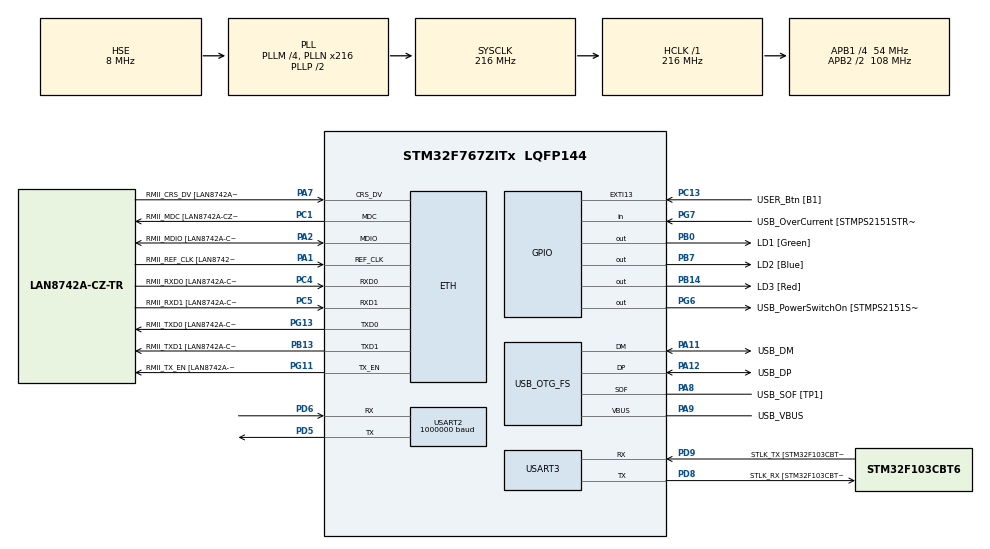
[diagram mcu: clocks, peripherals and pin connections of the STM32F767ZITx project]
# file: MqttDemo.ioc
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ETH.MediaInterface=ETH_MEDIA_INTERFACE_RMII
ETH.PHY_Name=LAN8742A_PHY_ADDRESS
ETH.PHY_Value=0
ETH.PhyAddress=0
FREERTOS.Tasks01=defaultTask,24,128,StartDefaultTask,Default,NULL,Dynamic,NULL,NULL;myMsgTask,8,25000,StartMsgTask,Default,NULL,Dynamic,NULL,NULL
FREERTOS.configCHECK_FOR_STACK_OVERFLOW=2
FREERTOS.configTOTAL_HEAP_SIZE=120000
FREERTOS.configUSE_MALLOC_FAILED_HOOK=1
LWIP.GATEWAY_ADDRESS=192.168.001.001
LWIP.IP_ADDRESS=192.168.001.011
LWIP.LWIP_ALLOW_MEM_FREE_FROM_OTHER_CONTEXT=1
LWIP.LWIP_ALTCP=1
LWIP.LWIP_ALTCP_TLS=1
LWIP.LWIP_DHCP=0
LWIP.LWIP_DNS=1
LWIP.MEMP_OVERFLOW_CHECK=2
LWIP.MEM_OVERFLOW_CHECK=2
LWIP.MEM_SIZE=100000
LWIP.NETMASK_ADDRESS=255.255.255.000
LWIP.Version=v2.1.2_Cube
MBEDTLS.MBEDTLS_PLATFORM_MEMORY=1
MBEDTLS.MBEDTLS_PLATFORM_PRINTF_ALT=1
MBEDTLS.MBEDTLS_PLATFORM_STD_PRINTF_ENABLE=1
MBEDTLS.MBEDTLS_THREADING_C=1
Mcu.Family=STM32F7
Mcu.Name=STM32F767ZITx
Mcu.Package=LQFP144
NVIC.ETH_IRQn=true\:5\:0\:false\:false\:true\:true\:false\:true
NVIC.PriorityGroup=NVIC_PRIORITYGROUP_4
PA1.GPIO_Label=RMII_REF_CLK [LAN8742A-CZ-TR_REFCLK0]
PA1.Mode=RMII
PA1.Signal=ETH_REF_CLK
PA10.GPIO_Label=USB_ID
PA10.Signal=USB_OTG_FS_ID
PA11.GPIO_Label=USB_DM
PA11.Mode=Device_Only
PA11.Signal=USB_OTG_FS_DM
PA12.GPIO_Label=USB_DP
PA12.Mode=Device_Only
PA12.Signal=USB_OTG_FS_DP
PA13.GPIO_Label=TMS
PA13.Mode=Serial_Wire
PA13.Signal=SYS_JTMS-SWDIO
PA14.GPIO_Label=TCK
PA14.Mode=Serial_Wire
PA14.Signal=SYS_JTCK-SWCLK
PA2.GPIO_Label=RMII_MDIO [LAN8742A-CZ-TR_MDIO]
PA2.Mode=RMII
PA2.Signal=ETH_MDIO
PA7.GPIO_Label=RMII_CRS_DV [LAN8742A-CZ-TR_CRS_DV]
PA7.Mode=RMII
PA7.Signal=ETH_CRS_DV
PA8.GPIO_Label=USB_SOF [TP1]
PA8.Mode=Activate_SOF_FS
PA8.Signal=USB_OTG_FS_SOF
PA9.GPIO_Label=USB_VBUS
PA9.Mode=Activate_VBUS
PA9.Signal=USB_OTG_FS_VBUS
PB0.GPIO_Label=LD1 [Green]
PB0.Signal=GPIO_Output
PB13.GPIO_Label=RMII_TXD1 [LAN8742A-CZ-TR_TXD1]
PB13.Mode=RMII
PB13.Signal=ETH_TXD1
PB14.GPIO_Label=LD3 [Red]
PB14.Signal=GPIO_Output
PB3.GPIO_Label=SWO
PB3.Signal=SYS_JTDO-SWO
PB7.GPIO_Label=LD2 [Blue]
PB7.Signal=GPIO_Output
PC1.GPIO_Label=RMII_MDC [LAN8742A-CZ-TR_MDC]
PC1.Mode=RMII
PC1.Signal=ETH_MDC
PC13.GPIO_Label=USER_Btn [B1]
PC13.Signal=GPXTI13
PC14/OSC32_IN.Mode=LSE-External-Oscillator
PC14/OSC32_IN.Signal=RCC_OSC32_IN
PC15/OSC32_OUT.Mode=LSE-External-Oscillator
PC15/OSC32_OUT.Signal=RCC_OSC32_OUT
PC4.GPIO_Label=RMII_RXD0 [LAN8742A-CZ-TR_RXD0]
PC4.Mode=RMII
PC4.Signal=ETH_RXD0
PC5.GPIO_Label=RMII_RXD1 [LAN8742A-CZ-TR_RXD1]
PC5.Mode=RMII
PC5.Signal=ETH_RXD1
PD5.Mode=Asynchronous
PD5.Signal=USART2_TX
PD6.Mode=Asynchronous
PD6.Signal=USART2_RX
PD8.GPIO_Label=STLK_RX [STM32F103CBT6_PA3]
PD8.Mode=Asynchronous
PD8.Signal=USART3_TX
PD9.GPIO_Label=STLK_TX [STM32F103CBT6_PA2]
PD9.Mode=Asynchronous
PD9.Signal=USART3_RX
PG11.GPIO_Label=RMII_TX_EN [LAN8742A-CZ-TR_TXEN]
PG11.Mode=RMII
PG11.Signal=ETH_TX_EN
PG13.GPIO_Label=RMII_TXD0 [LAN8742A-CZ-TR_TXD0]
PG13.Mode=RMII
PG13.Signal=ETH_TXD0
PG6.GPIO_Label=USB_PowerSwitchOn [STMPS2151STR_EN]
PG6.Signal=GPIO_Output
PG7.GPIO_Label=USB_OverCurrent [STMPS2151STR_FAULT]
PG7.Signal=GPIO_Input
PH0/OSC_IN.GPIO_Label=MCO [STM32F103CBT6_PA8]
PH0/OSC_IN.Mode=HSE-External-Clock-Source
PH0/OSC_IN.Signal=RCC_OSC_IN
PH1/OSC_OUT.Mode=HSE-External-Clock-Source
PH1/OSC_OUT.Signal=RCC_OSC_OUT
ProjectManager.HeapSize=0x200
ProjectManager.StackSize=0x400
ProjectManager.TargetToolchain=MDK-ARM V5.27
RCC.48MHZClocksFreq_Value=24000000
RCC.AHBFreq_Value=216000000
RCC.APB1CLKDivider=RCC_HCLK_DIV4
RCC.APB1Freq_Value=54000000
RCC.APB1TimFreq_Value=108000000
RCC.APB2CLKDivider=RCC_HCLK_DIV2
RCC.APB2Freq_Value=108000000
RCC.APB2TimFreq_Value=216000000
RCC.CortexFreq_Value=216000000
RCC.HCLKFreq_Value=216000000
RCC.HSE_VALUE=8000000
RCC.HSI_VALUE=16000000
RCC.PLLM=4
RCC.PLLMUL=RCC_PLL_MUL9
RCC.PLLN=216
RCC.PLLQ=9
RCC.PRESCALERUSB=RCC_USBCLKSOURCE_PLL_DIV1_5
RCC.SYSCLKFreq_VALUE=216000000
RCC.SYSCLKSource=RCC_SYSCLKSOURCE_PLLCLK
RCC.SYSCLKSourceVirtual=RCC_SYSCLKSOURCE_PLLCLK
RCC.USBFreq_Value=48000000
RCC.VCOOutputFreq_Value=432000000
USART2.BaudRate=1000000
USART2.VirtualMode-Asynchronous=VM_ASYNC
USART3.VirtualMode-Asynchronous=VM_ASYNC
USB_OTG_FS.VirtualMode=Device_Only
VP_FREERTOS_VS_CMSIS_V2.Mode=CMSIS_V2
VP_LWIP_VS_Enabled.Mode=Enabled
VP_MBEDTLS_VS_MBEDTLS.Mode=Enabled
board=NUCLEO-F767ZI

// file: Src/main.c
/* USER CODE BEGIN Header */
/**
  ******************************************************************************
  * @file           : main.c
  * @brief          : Main program body
  ******************************************************************************
  * @attention
  *
  * <h2><center>&copy; Copyright (c) 2021 STMicroelectronics.
  * All rights reserved.</center></h2>
  *
  * This software component is licensed by ST under Ultimate Liberty license
  * SLA0044, the "License"; You may not use this file except in compliance with
  * the License. You may obtain a copy of the License at:
  *                             www.st.com/SLA0044
  *
  ******************************************************************************
  */
/* USER CODE END Header */
#include "main.h"
#include "cmsis_os.h"
#include "mbedtls.h"

/* USER CODE BEGIN Includes */
#include <string.h>
#include <stdio.h>

#include "mqtt.h"
#include "lwip.h"
#include "lwip/dns.h"
#include "lwip/altcp_tls.h"

//#include "PassStrLocal.h"
#include "PassStr.h"

/* USER CODE END Includes */

/* USER CODE BEGIN PD */

#define LOG_INFO(...) (printf(__VA_ARGS__))
#define LOG_ERR(...) (printf(__VA_ARGS__))

/* USER CODE END PD */

PCD_HandleTypeDef hpcd_USB_OTG_FS;

/* Definitions for defaultTask */
osThreadId_t defaultTaskHandle;
const osThreadAttr_t defaultTask_attributes = {
  .name = "defaultTask",
  .stack_size = 256 * 4,
  .priority = (osPriority_t) osPriorityNormal,
};
/* Definitions for myMsgTask */
osThreadId_t myMsgTaskHandle;
const osThreadAttr_t myMsgTask_attributes = {
  .name = "myMsgTask",
  .stack_size = 25000 * 4,
  .priority = (osPriority_t) osPriorityLow,
};

void SystemClock_Config(void);
static void MX_GPIO_Init(void);
static void MX_USART2_UART_Init(void);
static void MX_USART3_UART_Init(void);
static void MX_USB_OTG_FS_PCD_Init(void);
void StartDefaultTask(void *argument);
void StartMsgTask(void *argument);

/* USER CODE BEGIN 0 */
/*int fputc(int ch,FILE *stream)
{
		if(ch == 10){
			fputc(13, stream);
		}

		LL_USART_TransmitData8(USART2, ch);
		while ( !LL_USART_IsActiveFlag_TXE(USART2) ) {};

    return (ch);
}*/
/* USER CODE END 0 */

int main(void)
{

  /* MCU Configuration--------------------------------------------------------*/

  /* Reset of all peripherals, Initializes the Flash interface and the Systick. */
  HAL_Init();

  /* Configure the system clock */
  SystemClock_Config();

  /* Initialize all configured peripherals */
  MX_GPIO_Init();
  MX_USART2_UART_Init();
  MX_USART3_UART_Init();
  MX_USB_OTG_FS_PCD_Init();
  MX_MBEDTLS_Init();

  /* Init scheduler */
  osKernelInitialize();

  /* Create the thread(s) */
  /* creation of defaultTask */
  defaultTaskHandle = osThreadNew(StartDefaultTask, NULL, &defaultTask_attributes);

  /* creation of myMsgTask */
  myMsgTaskHandle = osThreadNew(StartMsgTask, NULL, &myMsgTask_attributes);

  /* Start scheduler */
  osKernelStart();

  /* We should never get here as control is now taken by the scheduler */
  /* Infinite loop */
  while (1)
  {

  }
}

void SystemClock_Config(void)
{
  RCC_OscInitTypeDef RCC_OscInitStruct = {0};
  RCC_ClkInitTypeDef RCC_ClkInitStruct = {0};
  RCC_PeriphCLKInitTypeDef PeriphClkInitStruct = {0};

  /** Configure LSE Drive Capability
  */
  HAL_PWR_EnableBkUpAccess();
  /** Configure the main internal regulator output voltage
  */
  __HAL_RCC_PWR_CLK_ENABLE();
  __HAL_PWR_VOLTAGESCALING_CONFIG(PWR_REGULATOR_VOLTAGE_SCALE1);
  /** Initializes the RCC Oscillators according to the specified parameters
  * in the RCC_OscInitTypeDef structure.
  */
  RCC_OscInitStruct.OscillatorType = RCC_OSCILLATORTYPE_HSE;
  RCC_OscInitStruct.HSEState = RCC_HSE_BYPASS;
  RCC_OscInitStruct.PLL.PLLState = RCC_PLL_ON;
  RCC_OscInitStruct.PLL.PLLSource = RCC_PLLSOURCE_HSE;
  RCC_OscInitStruct.PLL.PLLM = 4;
  RCC_OscInitStruct.PLL.PLLN = 216;
  RCC_OscInitStruct.PLL.PLLP = RCC_PLLP_DIV2;
  RCC_OscInitStruct.PLL.PLLQ = 9;
  if (HAL_RCC_OscConfig(&RCC_OscInitStruct) != HAL_OK)
  {
    Error_Handler();
  }
  /** Activate the Over-Drive mode
  */
  if (HAL_PWREx_EnableOverDrive() != HAL_OK)
  {
    Error_Handler();
  }
  /** Initializes the CPU, AHB and APB buses clocks
  */
  RCC_ClkInitStruct.ClockType = RCC_CLOCKTYPE_HCLK|RCC_CLOCKTYPE_SYSCLK
                              |RCC_CLOCKTYPE_PCLK1|RCC_CLOCKTYPE_PCLK2;
  RCC_ClkInitStruct.SYSCLKSource = RCC_SYSCLKSOURCE_PLLCLK;
  RCC_ClkInitStruct.AHBCLKDivider = RCC_SYSCLK_DIV1;
  RCC_ClkInitStruct.APB1CLKDivider = RCC_HCLK_DIV4;
  RCC_ClkInitStruct.APB2CLKDivider = RCC_HCLK_DIV2;

  if (HAL_RCC_ClockConfig(&RCC_ClkInitStruct, FLASH_LATENCY_7) != HAL_OK)
  {
    Error_Handler();
  }
  PeriphClkInitStruct.PeriphClockSelection = RCC_PERIPHCLK_USART2|RCC_PERIPHCLK_USART3
                              |RCC_PERIPHCLK_CLK48;
  PeriphClkInitStruct.Usart2ClockSelection = RCC_USART2CLKSOURCE_PCLK1;
  PeriphClkInitStruct.Usart3ClockSelection = RCC_USART3CLKSOURCE_PCLK1;
  PeriphClkInitStruct.Clk48ClockSelection = RCC_CLK48SOURCE_PLL;
  if (HAL_RCCEx_PeriphCLKConfig(&PeriphClkInitStruct) != HAL_OK)
  {
    Error_Handler();
  }
}

static void MX_USART2_UART_Init(void)
{

  LL_USART_InitTypeDef USART_InitStruct = {0};

  LL_GPIO_InitTypeDef GPIO_InitStruct = {0};

  /* Peripheral clock enable */
  LL_APB1_GRP1_EnableClock(LL_APB1_GRP1_PERIPH_USART2);

  LL_AHB1_GRP1_EnableClock(LL_AHB1_GRP1_PERIPH_GPIOD);
  /**USART2 GPIO Configuration
  PD5   ------> USART2_TX
  PD6   ------> USART2_RX
  */
  GPIO_InitStruct.Pin = LL_GPIO_PIN_5;
  GPIO_InitStruct.Mode = LL_GPIO_MODE_ALTERNATE;
  GPIO_InitStruct.Speed = LL_GPIO_SPEED_FREQ_VERY_HIGH;
  GPIO_InitStruct.OutputType = LL_GPIO_OUTPUT_PUSHPULL;
  GPIO_InitStruct.Pull = LL_GPIO_PULL_NO;
  GPIO_InitStruct.Alternate = LL_GPIO_AF_7;
  LL_GPIO_Init(GPIOD, &GPIO_InitStruct);

  GPIO_InitStruct.Pin = LL_GPIO_PIN_6;
  GPIO_InitStruct.Mode = LL_GPIO_MODE_ALTERNATE;
  GPIO_InitStruct.Speed = LL_GPIO_SPEED_FREQ_VERY_HIGH;
  GPIO_InitStruct.OutputType = LL_GPIO_OUTPUT_PUSHPULL;
  GPIO_InitStruct.Pull = LL_GPIO_PULL_NO;
  GPIO_InitStruct.Alternate = LL_GPIO_AF_7;
  LL_GPIO_Init(GPIOD, &GPIO_InitStruct);

  USART_InitStruct.BaudRate = 1000000;
  USART_InitStruct.DataWidth = LL_USART_DATAWIDTH_8B;
  USART_InitStruct.StopBits = LL_USART_STOPBITS_1;
  USART_InitStruct.Parity = LL_USART_PARITY_NONE;
  USART_InitStruct.TransferDirection = LL_USART_DIRECTION_TX_RX;
  USART_InitStruct.HardwareFlowControl = LL_USART_HWCONTROL_NONE;
  USART_InitStruct.OverSampling = LL_USART_OVERSAMPLING_16;
  LL_USART_Init(USART2, &USART_InitStruct);
  LL_USART_ConfigAsyncMode(USART2);
  LL_USART_Enable(USART2);

}

static void MX_USART3_UART_Init(void)
{

  LL_USART_InitTypeDef USART_InitStruct = {0};

  LL_GPIO_InitTypeDef GPIO_InitStruct = {0};

  /* Peripheral clock enable */
  LL_APB1_GRP1_EnableClock(LL_APB1_GRP1_PERIPH_USART3);

  LL_AHB1_GRP1_EnableClock(LL_AHB1_GRP1_PERIPH_GPIOD);
  /**USART3 GPIO Configuration
  PD8   ------> USART3_TX
  PD9   ------> USART3_RX
  */
  GPIO_InitStruct.Pin = LL_GPIO_PIN_8;
  GPIO_InitStruct.Mode = LL_GPIO_MODE_ALTERNATE;
  GPIO_InitStruct.Speed = LL_GPIO_SPEED_FREQ_VERY_HIGH;
  GPIO_InitStruct.OutputType = LL_GPIO_OUTPUT_PUSHPULL;
  GPIO_InitStruct.Pull = LL_GPIO_PULL_NO;
  GPIO_InitStruct.Alternate = LL_GPIO_AF_7;
  LL_GPIO_Init(GPIOD, &GPIO_InitStruct);

  GPIO_InitStruct.Pin = LL_GPIO_PIN_9;
  GPIO_InitStruct.Mode = LL_GPIO_MODE_ALTERNATE;
  GPIO_InitStruct.Speed = LL_GPIO_SPEED_FREQ_VERY_HIGH;
  GPIO_InitStruct.OutputType = LL_GPIO_OUTPUT_PUSHPULL;
  GPIO_InitStruct.Pull = LL_GPIO_PULL_NO;
  GPIO_InitStruct.Alternate = LL_GPIO_AF_7;
  LL_GPIO_Init(GPIOD, &GPIO_InitStruct);

  USART_InitStruct.BaudRate = 115200;
  USART_InitStruct.DataWidth = LL_USART_DATAWIDTH_8B;
  USART_InitStruct.StopBits = LL_USART_STOPBITS_1;
  USART_InitStruct.Parity = LL_USART_PARITY_NONE;
  USART_InitStruct.TransferDirection = LL_USART_DIRECTION_TX_RX;
  USART_InitStruct.HardwareFlowControl = LL_USART_HWCONTROL_NONE;
  USART_InitStruct.OverSampling = LL_USART_OVERSAMPLING_16;
  LL_USART_Init(USART3, &USART_InitStruct);
  LL_USART_ConfigAsyncMode(USART3);
  LL_USART_Enable(USART3);

}

static void MX_USB_OTG_FS_PCD_Init(void)
{

  hpcd_USB_OTG_FS.Instance = USB_OTG_FS;
  hpcd_USB_OTG_FS.Init.dev_endpoints = 6;
  hpcd_USB_OTG_FS.Init.speed = PCD_SPEED_FULL;
  hpcd_USB_OTG_FS.Init.dma_enable = DISABLE;
  hpcd_USB_OTG_FS.Init.phy_itface = PCD_PHY_EMBEDDED;
  hpcd_USB_OTG_FS.Init.Sof_enable = ENABLE;
  hpcd_USB_OTG_FS.Init.low_power_enable = DISABLE;
  hpcd_USB_OTG_FS.Init.lpm_enable = DISABLE;
  hpcd_USB_OTG_FS.Init.vbus_sensing_enable = ENABLE;
  hpcd_USB_OTG_FS.Init.use_dedicated_ep1 = DISABLE;
  if (HAL_PCD_Init(&hpcd_USB_OTG_FS) != HAL_OK)
  {
    Error_Handler();
  }

}

static void MX_GPIO_Init(void)
{
  GPIO_InitTypeDef GPIO_InitStruct = {0};

  /* GPIO Ports Clock Enable */
  __HAL_RCC_GPIOC_CLK_ENABLE();
  __HAL_RCC_GPIOH_CLK_ENABLE();
  __HAL_RCC_GPIOA_CLK_ENABLE();
  __HAL_RCC_GPIOB_CLK_ENABLE();
  __HAL_RCC_GPIOD_CLK_ENABLE();
  __HAL_RCC_GPIOG_CLK_ENABLE();

  /*Configure GPIO pin Output Level */
  HAL_GPIO_WritePin(GPIOB, LD1_Pin|LD3_Pin|LD2_Pin, GPIO_PIN_RESET);

  /*Configure GPIO pin Output Level */
  HAL_GPIO_WritePin(USB_PowerSwitchOn_GPIO_Port, USB_PowerSwitchOn_Pin, GPIO_PIN_RESET);

  /*Configure GPIO pin : USER_Btn_Pin */
  GPIO_InitStruct.Pin = USER_Btn_Pin;
  GPIO_InitStruct.Mode = GPIO_MODE_IT_RISING;
  GPIO_InitStruct.Pull = GPIO_NOPULL;
  HAL_GPIO_Init(USER_Btn_GPIO_Port, &GPIO_InitStruct);

  /*Configure GPIO pins : LD1_Pin LD3_Pin LD2_Pin */
  GPIO_InitStruct.Pin = LD1_Pin|LD3_Pin|LD2_Pin;
  GPIO_InitStruct.Mode = GPIO_MODE_OUTPUT_PP;
  GPIO_InitStruct.Pull = GPIO_NOPULL;
  GPIO_InitStruct.Speed = GPIO_SPEED_FREQ_LOW;
  HAL_GPIO_Init(GPIOB, &GPIO_InitStruct);

  /*Configure GPIO pin : USB_PowerSwitchOn_Pin */
  GPIO_InitStruct.Pin = USB_PowerSwitchOn_Pin;
  GPIO_InitStruct.Mode = GPIO_MODE_OUTPUT_PP;
  GPIO_InitStruct.Pull = GPIO_NOPULL;
  GPIO_InitStruct.Speed = GPIO_SPEED_FREQ_LOW;
  HAL_GPIO_Init(USB_PowerSwitchOn_GPIO_Port, &GPIO_InitStruct);

  /*Configure GPIO pin : USB_OverCurrent_Pin */
  GPIO_InitStruct.Pin = USB_OverCurrent_Pin;
  GPIO_InitStruct.Mode = GPIO_MODE_INPUT;
  GPIO_InitStruct.Pull = GPIO_NOPULL;
  HAL_GPIO_Init(USB_OverCurrent_GPIO_Port, &GPIO_InitStruct);

}

void StartDefaultTask(void *argument)
{
  /* USER CODE BEGIN 5 */
  /* Infinite loop */
  for(;;)
  {
    osDelay(100);
  }
  /* USER CODE END 5 */
}

/* USER CODE BEGIN Header_StartMsgTask */
/**
* @brief Function implementing the myMsgTask thread.
* @param argument: Not used
* @retval None
*/

ip_addr_t 													server_ip;
mqtt_client_t 											*My_client;
struct mqtt_connect_client_info_t 	ci;
int																	is_connected = 0;

/* Called when publish is complete either with sucess or failure */
static void mqtt_pub_request_cb(void *arg, err_t result)
{
  if(result != ERR_OK) {
    printf("Publish result: %d-----------------\n", result);
  }
}

void example_publish(mqtt_client_t *client, void *arg)
{
  const char *pub_payload= "MyMqttDemo";
  err_t err;
  u8_t qos = 0; /* 0 1 or 2, see MQTT specification */
  u8_t retain = 0; /* No don't retain such crappy payload... */
  err = mqtt_publish(client, "MyMqttDemo", pub_payload, strlen(pub_payload), qos, retain, mqtt_pub_request_cb, arg);
  if(err != ERR_OK) {
    printf("Publish err: %d-----------------\n", err);
  }
}

/* Wait until this callback gets the IP */
static void mqtt_resolved_cb(const char *host, const ip_addr_t *ipaddr,
                             void *callback_arg)
{
  /* If resolved IP is known -> set it */
  if (ipaddr->addr != 0)
  {
    server_ip.addr = ipaddr->addr;
		printf("server_ip.addr =%s-----------------\n", ip4addr_ntoa(&server_ip));
  }
}

static void mqtt_connection_cb(
    mqtt_client_t *client,
    void *arg,
    mqtt_connection_status_t status)
{
    if(status == MQTT_CONNECT_ACCEPTED) {
        LOG_INFO("mqtt_connection_cb: Successfully connected-----------------\n");
				is_connected = 1;
    } else {
        LOG_ERR("mqtt_connection_cb: Disconnected, reason: %d-----------------\n", status);
    }
}

const char local_name[] = "DELLZHUK";
const char aws_name[] = "a24wy2kd5he3th-ats.iot.eu-west-2.amazonaws.com";

/* USER CODE END Header_StartMsgTask */
void StartMsgTask(void *argument)
{
  /* USER CODE BEGIN StartMsgTask */
  /* Infinite loop */
	MX_LWIP_Init();

	err_t err = dns_gethostbyname(aws_name, &server_ip, mqtt_resolved_cb, NULL);

	  /* Setup an empty client info structure */
  memset(&ci, 0, sizeof(ci));

  /* Set client information */
  ci.client_id = aws_name;
  ci.client_user = NULL;
  ci.client_pass = NULL;
  ci.keep_alive = 0;
  ci.will_topic = NULL;
  ci.will_msg = NULL;
  ci.will_retain = 0;
  ci.will_qos = 1;

	int StartTime = HAL_GetTick();
	int CurTime = StartTime;

	printf("Start of TLS init, time=0 -----------------\n");

	ci.tls_config = altcp_tls_create_config_client_2wayauth(
		(const u8_t*)CaStr, sizeof(CaStr),
		(const u8_t*)PrivKeyStr, sizeof(PrivKeyStr),
		(const u8_t*)PubKeyStr, sizeof(PubKeyStr),
		(const u8_t*)SertStr, sizeof(SertStr)
	);
	CurTime = -(StartTime - HAL_GetTick());
	printf("End of TLS init, time spend %d -----------------\n", CurTime);

  /* Allocate memory for MQTT client */
	printf("Start of My_client init -----------------\n");
  My_client = mqtt_client_new();
	CurTime = CurTime - HAL_GetTick();
	printf("End of My_client init, time spend %d -----------------\n", -CurTime);

	//IP4_ADDR(&server_ip, 192, 168, 1, 4);

  osDelay(1000);
  osDelay(1000);

  /* Connect to the server */
  if (My_client != NULL)
  {
		printf("Attempton to connect, timer=0 -----------------\n");
		StartTime = HAL_GetTick();
    err_t err = mqtt_client_connect(
      My_client, &server_ip, 8883, mqtt_connection_cb, 0, &ci);
		printf("Result err == %d-----------------\n", err);
  }else{
		printf("Client ==0-----------------\n");
	};

	int i = 0;
  for(;;)
  {
		printf("Cicle %d-----------------\r\n", ++i);
    osDelay(10000);
		stats_display();

		if(My_client != 0){
			if(is_connected){
				CurTime = HAL_GetTick();
				printf("Connected, time spended ms %d -----------------\n", CurTime-StartTime);

				example_publish(My_client, 0);
			}else{
				printf("Still not connected-----------------\r\n");
			};
		};
  }
  /* USER CODE END StartMsgTask */
}

void Error_Handler(void)
{
  __disable_irq();
  while (1)
  {
  }
}

/************************ (C) COPYRIGHT STMicroelectronics *****END OF FILE****/

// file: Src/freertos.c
/* USER CODE BEGIN Header */
/**
  ******************************************************************************
  * File Name          : freertos.c
  * Description        : Code for freertos applications
  ******************************************************************************
  * @attention
  *
  * <h2><center>&copy; Copyright (c) 2021 STMicroelectronics.
  * All rights reserved.</center></h2>
  *
  * This software component is licensed by ST under Ultimate Liberty license
  * SLA0044, the "License"; You may not use this file except in compliance with
  * the License. You may obtain a copy of the License at:
  *                             www.st.com/SLA0044
  *
  ******************************************************************************
  */
/* USER CODE END Header */

#include "FreeRTOS.h"
#include "task.h"
#include "main.h"

/* Hook prototypes */
void vApplicationStackOverflowHook(xTaskHandle xTask, signed char *pcTaskName);
void vApplicationMallocFailedHook(void);

/* USER CODE BEGIN 4 */
void vApplicationStackOverflowHook(xTaskHandle xTask, signed char *pcTaskName)
{
   /* Run time stack overflow checking is performed if
   configCHECK_FOR_STACK_OVERFLOW is defined to 1 or 2. This hook function is
   called if a stack overflow is detected. */
}
/* USER CODE END 4 */

/* USER CODE BEGIN 5 */
void vApplicationMallocFailedHook(void)
{
   /* vApplicationMallocFailedHook() will only be called if
   configUSE_MALLOC_FAILED_HOOK is set to 1 in FreeRTOSConfig.h. It is a hook
   function that will get called if a call to pvPortMalloc() fails.
   pvPortMalloc() is called internally by the kernel whenever a task, queue,
   timer or semaphore is created. It is also called by various parts of the
   demo application. If heap_1.c or heap_2.c are used, then the size of the
   heap available to pvPortMalloc() is defined by configTOTAL_HEAP_SIZE in
   FreeRTOSConfig.h, and the xPortGetFreeHeapSize() API function can be used
   to query the size of free heap space that remains (although it does not
   provide information on how the remaining heap might be fragmented). */
		printf("FREERTOS MALOC ERROR!");
}
/* USER CODE END 5 */

/************************ (C) COPYRIGHT STMicroelectronics *****END OF FILE****/
